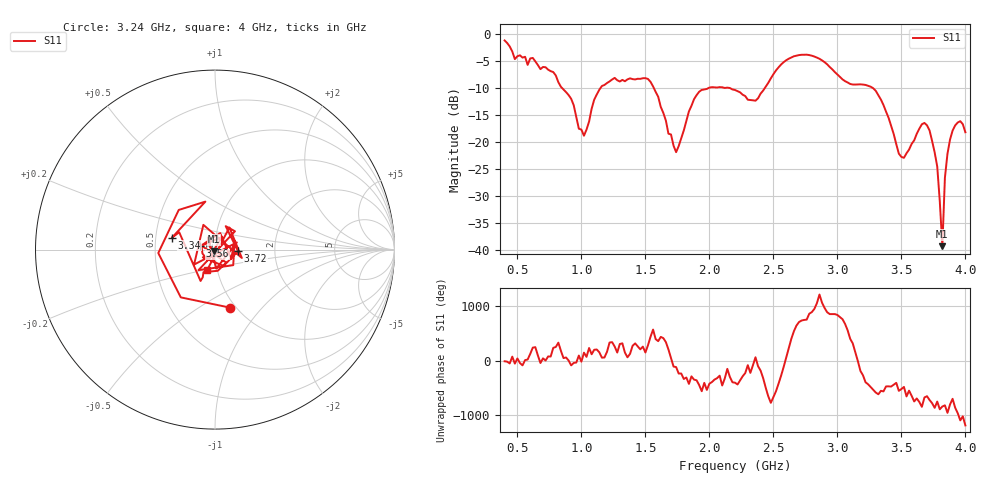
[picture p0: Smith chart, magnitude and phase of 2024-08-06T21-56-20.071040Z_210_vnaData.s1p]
!Created with skrf (http://scikit-rf.org).
# Hz S RI R 50.0
!freq ReS11 ImS11
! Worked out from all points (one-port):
!   181 points, 400 MHz to 4 GHz, reference 50 ohm
!   lowest |S11| = -39.3 dB at 3.82 GHz (marker M1), VSWR 1.02, Z = 49.4 - j0.901 ohm
!   |S11| at or under -10 dB: 851.5 MHz to 1.148 GHz (296 MHz wide, 29.6 % of centre); 1.567 GHz to 1.989 GHz (421.5 MHz wide, 23.7 % of centre); 3.28 GHz to end of sweep (the widest 3 of 4)
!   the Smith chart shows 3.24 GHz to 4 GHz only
!   S11 on the Smith chart (normalised r, x): 3.24 GHz: 0.94, -0.68; 3.34 GHz: 0.61, +0.09; 3.56 GHz: 0.85, +0.03; 3.72 GHz: 1.29, -0.02; 4 GHz: 0.89, -0.21
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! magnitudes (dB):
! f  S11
! 400 MHz  -1.1
! 480 MHz  -4.6
! 620 MHz  -4.4
! 860 MHz  -10.2
! 1.02 GHz  -18.8
! 1.14 GHz  -10.3
! 1.3 GHz  -8.7
! 1.52 GHz  -8.3
! 1.74 GHz  -21.8
! 1.76 GHz  -20.7
! 1.92 GHz  -10.6
! 2.2 GHz  -10.3
! 2.36 GHz  -12.3
! 2.66 GHz  -4.1
! 2.86 GHz  -4.5
! 3.1 GHz  -9.2
! 3.24 GHz  -9.5
! 3.34 GHz  -12.1
! 3.48 GHz  -22.1
! 3.56 GHz  -21.4
! 3.66 GHz  -16.7
! 3.72 GHz  -17.8
! 3.78 GHz  -24.5
! 3.82 GHz  -39.3
! 3.84 GHz  -26.6
! 3.88 GHz  -19.5
! 3.96 GHz  -16.1
! 4 GHz  -18.2
